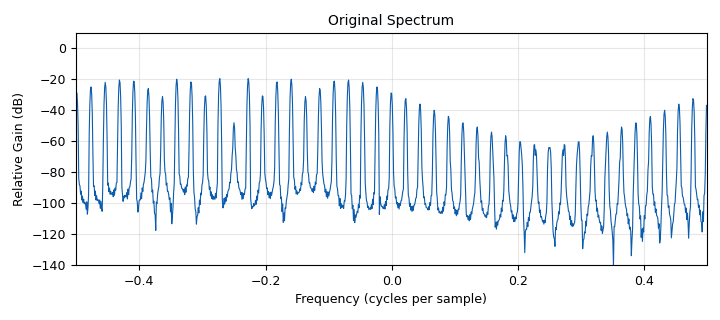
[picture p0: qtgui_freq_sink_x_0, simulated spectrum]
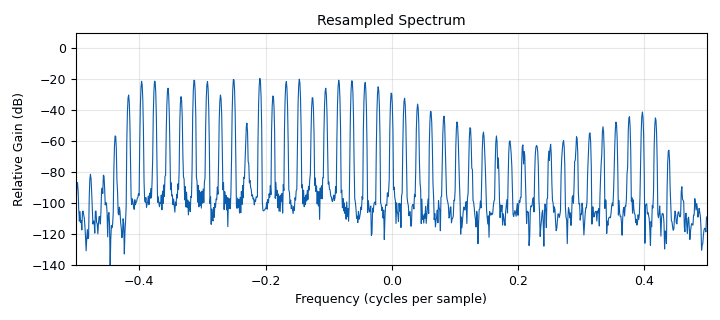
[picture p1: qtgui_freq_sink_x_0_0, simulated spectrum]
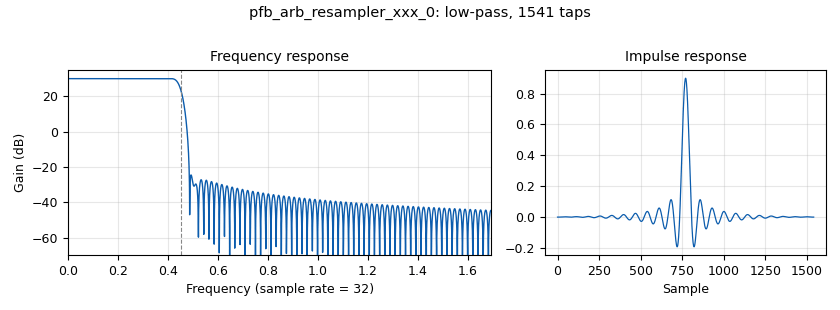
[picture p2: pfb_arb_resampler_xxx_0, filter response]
options:
  parameters:
    category: Custom
    description: Adapted from GNU Radio's own example (gr-filter/examples/resampler_demo.grc). The QT GUI Label variables become plain variables so their values survive.
    generate_options: qt_gui
    id: resampler_demo
    output_language: python
    title: Rational Resampler Demo
  states: {}

blocks:
- name: frac_bw
  id: variable
  parameters:
    value: '.45'
  states: {}
- name: new_rate
  id: variable
  parameters:
    value: '48000'
  states: {}
- name: nphases
  id: variable
  parameters:
    value: '32'
  states: {}
- name: rs_taps
  id: variable
  parameters:
    value: firdes.low_pass(nphases, nphases, frac_bw, 0.5-frac_bw)
  states: {}
- name: samp_rate
  id: variable
  parameters:
    value: '44100'
  states: {}
- name: adder
  id: blocks_add_const_vxx
  parameters:
    const: '-1.0'
    type: float
  states: {}
- name: analog_frequency_modulator_fc_0
  id: analog_frequency_modulator_fc
  parameters:
    sensitivity: math.pi
  states: {}
- name: analog_sig_source_x_0
  id: analog_sig_source_x
  parameters:
    offset: '0'
    phase: '0'
    samp_rate: samp_rate
    type: float
    waveform: analog.GR_TRI_WAVE
    frequency: '0.05'
    amplitude: '2'
  states: {}
- name: blocks_throttle2_0
  id: blocks_throttle2
  parameters:
    samples_per_second: samp_rate
    type: float
  states: {}
- name: pfb_arb_resampler_xxx_0
  id: pfb_arb_resampler_xxx
  parameters:
    atten: '100'
    nfilts: nphases
    rrate: float(new_rate)/samp_rate
    taps: rs_taps
    type: ccf
  states: {}
- name: qtgui_freq_sink_x_0
  id: qtgui_freq_sink_x
  parameters:
    fc: '0'
    fftsize: '1024'
    gui_hint: 1,0,1,3
    label1: Original Spectrum
    legend: 'False'
    name: Original Spectrum
    showports: 'True'
    type: complex
    samp_rate: samp_rate
  states: {}
- name: qtgui_freq_sink_x_0_0
  id: qtgui_freq_sink_x
  parameters:
    fc: '0'
    fftsize: '1024'
    gui_hint: 2,0,1,3
    label1: Resampled Spectrum
    legend: 'False'
    name: Resampled Spectrum
    showports: 'True'
    type: complex
    samp_rate: new_rate
  states: {}

connections:
- [adder, '0', blocks_throttle2_0, '0']
- [analog_frequency_modulator_fc_0, '0', pfb_arb_resampler_xxx_0, '0']
- [analog_frequency_modulator_fc_0, '0', qtgui_freq_sink_x_0, '0']
- [analog_sig_source_x_0, '0', adder, '0']
- [blocks_throttle2_0, '0', analog_frequency_modulator_fc_0, '0']
- [pfb_arb_resampler_xxx_0, '0', qtgui_freq_sink_x_0_0, '0']

metadata:
  file_format: 1
  grc_version: 3.10.10.0
